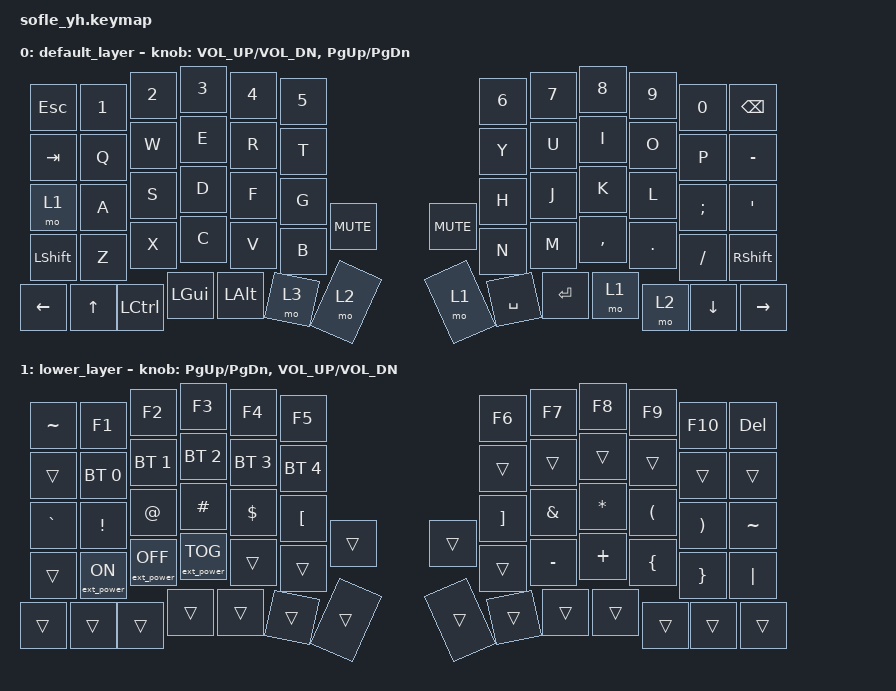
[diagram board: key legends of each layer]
#include <behaviors.dtsi>
#include <dt-bindings/zmk/keys.h>
#include <dt-bindings/zmk/bt.h>
#include <dt-bindings/zmk/rgb.h>
#include <dt-bindings/zmk/ext_power.h>

/ {
    keymap {
        compatible = "zmk,keymap";

        default_layer { // Layer 0
// ------------------------------------------------------------------------------------------------------------
// |  ESC  |  1  |  2  |  3   |  4   |  5   |                   |  6   |  7    |  8    |  9   |   0   |   `   |
// |  TAB  |  Q  |  W  |  E   |  R   |  T   |                   |  Y   |  U    |  I    |  O   |   P   |   -   |
// |  LOWER|  A  |  S  |  D   |  F   |  G   |                   |  H   |  J    |  K    |  L   |   ;   |   '   |
// | SHIFT |  Z  |  X  |  C   |  V   |  B   |  MUTE  |  | MUTE  |  N   |  M    |  ,    |  .   |   /   | SHIFT |
// |  CTRL | WIN | ALT |  C   | WIN  | LOWER|  SPACE |  | ENTER | RAISE| BSPC  | GUI   | RALT |  WIN  | CTRL  |
            bindings = <
&kp ESC   &kp N1   &kp N2    &kp N3   &kp N4   &kp N5                           &kp N6    &kp N7      &kp N8    &kp N9   &kp N0   &kp BSPC
&kp TAB   &kp Q    &kp W     &kp E    &kp R    &kp T                            &kp Y     &kp U       &kp I     &kp O    &kp P    &kp MINUS
&mo 1     &kp A    &kp S     &kp D    &kp F    &kp G                            &kp H     &kp J       &kp K     &kp L    &kp SEMI &kp SQT
&kp LSHFT &kp Z    &kp X     &kp C    &kp V    &kp B    &kp C_MUTE  &kp C_MUTE  &kp N     &kp M       &kp COMMA &kp DOT  &kp FSLH &kp RSHFT
&kp LCTRL &kp LGUI &kp LALT  &mo 3    &mo 2    &mo 1    &kp SPACE   &kp RET     &mo 1     &mo 2       &kp LEFT  &kp UP   &kp DOWN &kp RIGHT
            >;

            sensor-bindings = <&inc_dec_kp C_VOL_UP C_VOL_DN &inc_dec_kp PG_UP PG_DN>;
        };

        lower_layer {
// ------------------------------------------------------------------------------------------------------------
// |  F1   |  F2 |  F3 |  F4  |  F5  |  F6  |                   |  F7  |  F8   |  F9   |  F10 |  F11  |  F12  |
// |       | BT1 | BT2 |  BT3 |  BT4 |  BT5 |                   |      |       |       |      |       |       |
// |   `   |  !  |  @  |  #   |  $   |  [   |                   |  ]   |  &    |  *    |  (   |   )   |   ~   |
// |       |     |     |      |      |      |        |  |       |      |  _    |  +    |  {   |   }   |  "|"  |
//               |     |      |      |      |        |  |       |      |       |       |      |
            bindings = <
&kp TILDE  &kp F1           &kp F2            &kp F3            &kp F4       &kp F5                       &kp F6    &kp F7    &kp F8    &kp F9    &kp F10   &kp DEL
&trans     &bt BT_SEL 0     &bt BT_SEL 1      &bt BT_SEL 2      &bt BT_SEL 3 &bt BT_SEL 4                 &trans    &trans    &trans    &trans    &trans    &trans
&kp GRAVE  &kp EXCL         &kp AT            &kp HASH          &kp DOLLAR   &kp LBKT                     &kp RBKT  &kp AMPS  &kp STAR  &kp LPAR  &kp RPAR  &kp TILDE
&trans     &ext_power EP_ON &ext_power EP_OFF &ext_power EP_TOG &trans       &trans    &trans   &trans    &trans    &kp MINUS &kp PLUS  &kp LBRC  &kp RBRC  &kp PIPE
&trans     &trans           &trans            &trans            &trans       &trans    &trans   &trans    &trans    &trans    &trans    &trans    &trans    &trans
            >;

            sensor-bindings = <&inc_dec_kp PG_UP PG_DN &inc_dec_kp C_VOL_UP C_VOL_DN>;
        };
    };
};

